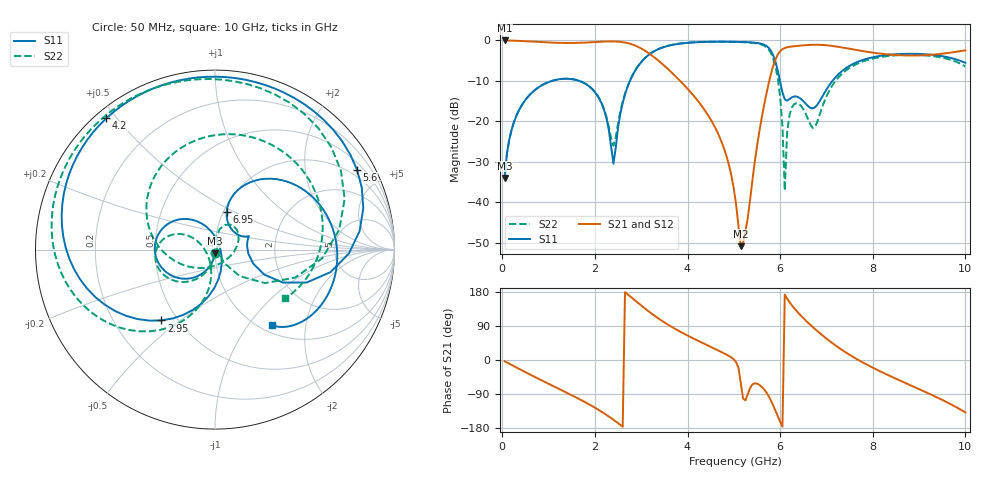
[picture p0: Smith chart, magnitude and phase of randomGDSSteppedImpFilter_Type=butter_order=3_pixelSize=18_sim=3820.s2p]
! freq	dB(S11)	phase(S11)	dB(S12)	phase(S12)
!  dB(S21)	phase(S21)	dB(S22)	phase(S22)
!S-par simulation data
#  GHz  S  DB  R 50
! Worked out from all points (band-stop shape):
!   200 points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, 50 MHz to 10 GHz, reference 50 ohm
!   highest |S21| = -0.01 dB at 50 MHz (marker M1); lowest = -50.9 dB at 5.15 GHz (marker M2)
!   |S21| within 3 dB of the highest: start of sweep to 3.144 GHz; 5.979 GHz to 7.99 GHz (2.011 GHz wide, 28.8 % of centre) (the widest 2 of 3)
!   lowest |S11| = -34.0 dB at 50 MHz (marker M3), VSWR 1.04, Z = 49.9 - j1.99 ohm
!   |S11| at or under -10 dB: start of sweep to 1.077 GHz; 1.657 GHz to 2.758 GHz (1.101 GHz wide, 49.9 % of centre); 5.996 GHz to 7.13 GHz (1.134 GHz wide, 17.3 % of centre)
!   |S22| runs from -37.1 to -0.3 dB; largest |S21 - S12| = 0
!   S11 on the Smith chart (normalised r, x): 50 MHz: 1.00, -0.04; 2.95 GHz: 0.41, -0.43; 4.2 GHz: 0.03, +0.47; 5.6 GHz: 0.73, +3.68; 6.95 GHz: 1.03, +0.46; 10 GHz: 1.12, -1.31
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0.05  -34.01 -93.2  -0.01 -3.3  -0.01 -3.3  -34.00 -92.8
0.55  -13.99 -128.1  -0.23 -35.3  -0.23 -35.3  -13.99 -123.5
1.75  -10.44 152.0  -0.55 -108.7  -0.55 -108.7  -10.42 170.6
2.2  -17.27 110.9  -0.28 -140.9  -0.28 -140.9  -17.05 152.2
2.4  -30.49 19.4  -0.25 -157.6  -0.25 -157.6  -26.04 -153.5
2.95  -6.10 -127.2  -1.69 148.8  -1.69 148.8  -6.02 -120.2
3.4  -2.02 -172.1  -5.27 107.2  -5.27 107.2  -1.97 -157.1
4.2  -0.45 129.6  -14.62 52.3  -14.62 52.3  -0.43 152.5
5.05  -0.35 76.6  -40.65 -5.9  -40.65 -5.9  -0.37 102.8
5.15  -0.38 69.6  -50.88 -60.5  -50.88 -60.5  -0.41 95.7
5.6  -0.84 29.4  -19.27 -70.5  -19.27 -70.5  -1.03 49.6
5.95  -7.53 -25.9  -3.47 -148.8  -3.47 -148.8  -9.49 -33.8
6.05  -12.89 -20.2  -2.17 -175.8  -2.17 -175.8  -21.27 -56.2
6.1  -14.59 -6.4  -1.87 172.7  -1.87 172.7  -37.13 33.1
6.15  -14.90 7.2  -1.70 162.4  -1.70 162.4  -22.76 83.3
6.25  -14.09 19.7  -1.51 144.8  -1.51 144.8  -16.66 68.5
6.7  -16.81 45.9  -1.08 87.4  -1.08 87.4  -21.62 -50.0
6.95  -13.09 73.0  -1.15 61.3  -1.15 61.3  -15.21 -146.7
7.5  -6.27 54.3  -2.07 13.7  -2.07 13.7  -6.79 146.6
8.35  -3.54 10.7  -3.49 -41.0  -3.49 -41.0  -3.83 86.4
9.35  -3.65 -31.7  -3.47 -96.5  -3.47 -96.5  -3.96 22.5
10  -5.53 -52.9  -2.45 -138.3  -2.45 -138.3  -6.45 -34.9
